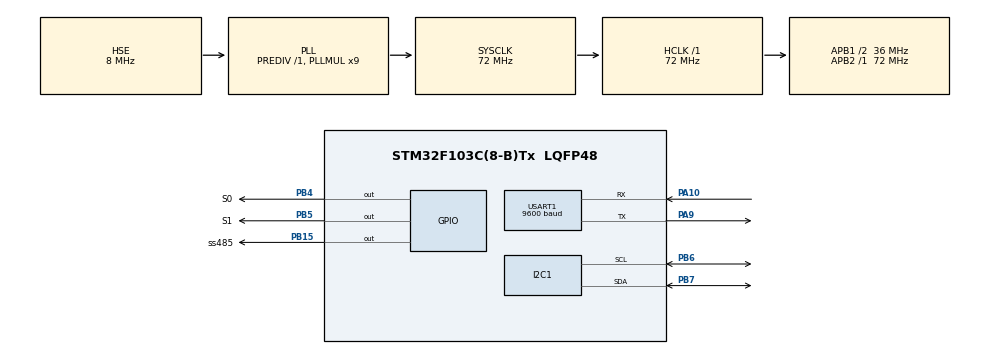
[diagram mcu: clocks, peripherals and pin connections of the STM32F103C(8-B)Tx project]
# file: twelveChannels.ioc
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Dma.I2C1_RX.0.Direction=DMA_PERIPH_TO_MEMORY
Dma.I2C1_RX.0.Instance=DMA1_Channel7
Dma.I2C1_RX.0.MemDataAlignment=DMA_MDATAALIGN_BYTE
Dma.I2C1_RX.0.MemInc=DMA_MINC_ENABLE
Dma.I2C1_RX.0.Mode=DMA_NORMAL
Dma.I2C1_RX.0.PeriphDataAlignment=DMA_PDATAALIGN_BYTE
Dma.I2C1_RX.0.PeriphInc=DMA_PINC_DISABLE
Dma.I2C1_RX.0.Priority=DMA_PRIORITY_LOW
Dma.I2C1_TX.1.Direction=DMA_MEMORY_TO_PERIPH
Dma.I2C1_TX.1.Instance=DMA1_Channel6
Dma.I2C1_TX.1.MemDataAlignment=DMA_MDATAALIGN_BYTE
Dma.I2C1_TX.1.MemInc=DMA_MINC_ENABLE
Dma.I2C1_TX.1.Mode=DMA_NORMAL
Dma.I2C1_TX.1.PeriphDataAlignment=DMA_PDATAALIGN_BYTE
Dma.I2C1_TX.1.PeriphInc=DMA_PINC_DISABLE
Dma.I2C1_TX.1.Priority=DMA_PRIORITY_LOW
Dma.Request0=I2C1_RX
Dma.Request1=I2C1_TX
Dma.Request2=USART1_RX
Dma.Request3=USART1_TX
Dma.USART1_RX.2.Direction=DMA_PERIPH_TO_MEMORY
Dma.USART1_RX.2.Instance=DMA1_Channel5
Dma.USART1_RX.2.MemDataAlignment=DMA_MDATAALIGN_BYTE
Dma.USART1_RX.2.MemInc=DMA_MINC_ENABLE
Dma.USART1_RX.2.Mode=DMA_NORMAL
Dma.USART1_RX.2.PeriphDataAlignment=DMA_PDATAALIGN_BYTE
Dma.USART1_RX.2.PeriphInc=DMA_PINC_DISABLE
Dma.USART1_RX.2.Priority=DMA_PRIORITY_LOW
Dma.USART1_TX.3.Direction=DMA_MEMORY_TO_PERIPH
Dma.USART1_TX.3.Instance=DMA1_Channel4
Dma.USART1_TX.3.MemDataAlignment=DMA_MDATAALIGN_BYTE
Dma.USART1_TX.3.MemInc=DMA_MINC_ENABLE
Dma.USART1_TX.3.Mode=DMA_NORMAL
Dma.USART1_TX.3.PeriphDataAlignment=DMA_PDATAALIGN_BYTE
Dma.USART1_TX.3.PeriphInc=DMA_PINC_DISABLE
Dma.USART1_TX.3.Priority=DMA_PRIORITY_LOW
Mcu.Family=STM32F1
Mcu.Name=STM32F103C(8-B)Tx
Mcu.Package=LQFP48
NVIC.DMA1_Channel4_IRQn=true\:0\:0\:false\:false\:true\:false\:true\:true
NVIC.DMA1_Channel5_IRQn=true\:0\:0\:false\:false\:true\:false\:true\:true
NVIC.DMA1_Channel6_IRQn=true\:0\:0\:false\:false\:true\:false\:true\:true
NVIC.DMA1_Channel7_IRQn=true\:0\:0\:false\:false\:true\:false\:true\:true
NVIC.I2C1_ER_IRQn=true\:0\:0\:false\:false\:true\:true\:true\:true
NVIC.I2C1_EV_IRQn=true\:0\:0\:false\:false\:true\:true\:true\:true
NVIC.PriorityGroup=NVIC_PRIORITYGROUP_4
NVIC.USART1_IRQn=true\:0\:0\:false\:false\:true\:true\:true\:true
PA10.Mode=Asynchronous
PA10.Signal=USART1_RX
PA13.Mode=Serial_Wire
PA13.Signal=SYS_JTMS-SWDIO
PA14.Mode=Serial_Wire
PA14.Signal=SYS_JTCK-SWCLK
PA9.Mode=Asynchronous
PA9.Signal=USART1_TX
PB15.GPIO_Label=ss485
PB15.Signal=GPIO_Output
PB4.GPIO_Label=S0
PB4.Signal=GPIO_Output
PB5.GPIO_Label=S1
PB5.Signal=GPIO_Output
PB6.Mode=I2C
PB6.Signal=I2C1_SCL
PB7.Mode=I2C
PB7.Signal=I2C1_SDA
PC14-OSC32_IN.Mode=LSE-External-Oscillator
PC14-OSC32_IN.Signal=RCC_OSC32_IN
PC15-OSC32_OUT.Mode=LSE-External-Oscillator
PC15-OSC32_OUT.Signal=RCC_OSC32_OUT
PD0-OSC_IN.Mode=HSE-External-Oscillator
PD0-OSC_IN.Signal=RCC_OSC_IN
PD1-OSC_OUT.Mode=HSE-External-Oscillator
PD1-OSC_OUT.Signal=RCC_OSC_OUT
ProjectManager.HeapSize=0x200
ProjectManager.StackSize=0x400
ProjectManager.TargetToolchain=STM32CubeIDE
RCC.AHBFreq_Value=72000000
RCC.APB1CLKDivider=RCC_HCLK_DIV2
RCC.APB1Freq_Value=36000000
RCC.APB1TimFreq_Value=72000000
RCC.APB2Freq_Value=72000000
RCC.APB2TimFreq_Value=72000000
RCC.HCLKFreq_Value=72000000
RCC.PLLMUL=RCC_PLL_MUL9
RCC.PLLSourceVirtual=RCC_PLLSOURCE_HSE
RCC.SYSCLKFreq_VALUE=72000000
RCC.SYSCLKSource=RCC_SYSCLKSOURCE_PLLCLK
RCC.USBFreq_Value=72000000
USART1.BaudRate=9600
USART1.VirtualMode=VM_ASYNC
board=custom

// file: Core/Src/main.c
/* USER CODE BEGIN Header */
/**
  ******************************************************************************
  * @file           : main.c
  * @brief          : Main program body
  ******************************************************************************
  * @attention
  *
  * Copyright (c) 2024 STMicroelectronics.
  * All rights reserved.
  *
  * This software is licensed under terms that can be found in the LICENSE file
  * in the root directory of this software component.
  * If no LICENSE file comes with this software, it is provided AS-IS.
  *
  ******************************************************************************
  */
/* USER CODE END Header */
#include "main.h"
#include "dma.h"
#include "i2c.h"
#include "usart.h"
#include "gpio.h"

/* USER CODE BEGIN Includes */
#include "modbus.h"
#include "userLib.h"
#include "readAdcChannels.h"
/* USER CODE END Includes */

/* USER CODE BEGIN PM */
#define I2C_Size 2
#define S0_L HAL_GPIO_WritePin(GPIOB,S0_Pin,RESET)
#define S0_H HAL_GPIO_WritePin(GPIOB,S0_Pin,SET)
#define S1_L HAL_GPIO_WritePin(GPIOB,S1_Pin,RESET)
#define S1_H HAL_GPIO_WritePin(GPIOB,S1_Pin,SET)
static void readAnalogChannel(uint16_t Len,uint8_t* _readI2cBuffer );
static void calFloat(uint8_t * _icBuff,uint16_t _Len,float * _rate,float *_floatData);
/* USER CODE END PM */

/* USER CODE BEGIN PV */
/**
 *  00  128sps  9.62ms
 *  01  32sps	38.46ms
 *  10	16sps   76.92ms
 *  11  8sps   153.85ms
 *  adc采样的平均间隔ms
 */
uint8_t adcConfig=0b00000000;  // 配置为持续采样 并且调整采样率

uint8_t receive485Data[8]; // modbus协议接收到的字节的长度

uint8_t readI2cBuffer[24]; //读取数据
float rate[12]={
	1000.0f,1000.0f,1000.0f,1000.0f,
	1000.0f,1000.0f,1000.0f,1000.0f,
	1000.0f,1000.0f,1000.0f,1000.0f
};  // 每个通道的比例
float floatData[12]; // 12个浮点数 1浮点数=4字节
uint32_t swapFinshBuffer[12]; // 48个字节
uint8_t localAddr=1; //  modbus协议的地址

/* USER CODE END PV */

void SystemClock_Config(void);

/* USER CODE BEGIN 0 */
void HAL_UARTEx_RxEventCallback(UART_HandleTypeDef *huart, uint16_t Size){
	if(huart==&huart1){
		 MODS_AnalyzeApp(receive485Data, Size);
	}else{
		// 对没用的干扰 启用接收就行
		HAL_GPIO_WritePin(ss485_GPIO_Port,ss485_Pin, RESET);
//		HAL_UARTEx_ReceiveToIdle_DMA(&huart1,receive485Data,sizeof(receive485Data));
	}

}

void HAL_UART_TxCpltCallback(UART_HandleTypeDef *huart){
	if(huart==&huart1){
	HAL_GPIO_WritePin(ss485_GPIO_Port,ss485_Pin, RESET);
	}
}
/***
 * Len  读取的数据的长度
 * _readI2cBuffer 保存数据的数组
 *
 */
static void readAnalogChannel(uint16_t Len,uint8_t* _readI2cBuffer ){
	for(uint16_t i=0;i<Len;i++){
	//	读取IIC芯片数据
	if(0<=i && i<4 ){
		//		HAL_OK
		if(i%4==0){	S0_L; S1_L;} // 0
		if(i%4==1){	S0_H; S1_L;} // 1
		if(i%4==2){	S0_L; S1_H; } // 2
		if(i%4==3){	S0_H; S1_H; } // 3
//		uint8_t readI2cBuffer[24]; 定义在头文件中
		HAL_I2C_Master_Receive(&hi2c1,A0_Addr+(2*0),(_readI2cBuffer+2*i), I2C_Size,100);
		HAL_Delay(9);
		continue;
	}
	if(4<=i && i<8){
		if(i%4==0){	S0_L; S1_L; } // 4
		if(i%4==1){	S0_H; S1_L; } // 5
		if(i%4==2){	S0_L; S1_H; } // 6
		if(i%4==3){	S0_H; S1_H; } // 7
		HAL_I2C_Master_Receive(&hi2c1,A0_Addr+(2*1),(_readI2cBuffer+2*i), I2C_Size,100);
		HAL_Delay(9);
		continue;
	}
	if(8<=i && i<12){
		if(i%4==0){	S0_L; S1_L; } // 8
		if(i%4==1){	S0_H; S1_L; } // 9
		if(i%4==2){	S0_L; S1_H; } // 10
		if(i%4==3){	S0_H; S1_H; } // 11
		HAL_I2C_Master_Receive(&hi2c1,A0_Addr+(2*2),(_readI2cBuffer+2*i), I2C_Size,100);
		HAL_Delay(9);
		continue;
	}
 }
}

/**
 *   icBuff  24
 *
 *
 */
static void calFloat(uint8_t * _icBuff,uint16_t i2c_Len,float * _rate,float * _floatBuffer){
	uint16_t j;
	uint16_t  t_Len= i2c_Len>>1;
	for(j=0;j<t_Len;j++){
	 _floatBuffer[j]=BEBufToInt16(_icBuff+2*j)/_rate[j];
	}
}

/**
 * 将float数组进行char类型数组转换  并且4字节交换
 */
static void swapByte(float * _floatByteBuff,uint16_t _numFloats,uint32_t *_swapBuffer){
	uint16_t i;
	uint8_t *p=(uint8_t *)_floatByteBuff;
	for(i=0;i<_numFloats;i++){
		_swapBuffer[i]=BEBufToUint32(p+(4*i));
	}
}

/* USER CODE END 0 */

int main(void)
{

  /* MCU Configuration--------------------------------------------------------*/

  /* Reset of all peripherals, Initializes the Flash interface and the Systick. */
  HAL_Init();

  /* Configure the system clock */
  SystemClock_Config();

  /* Initialize all configured peripherals */
  MX_GPIO_Init();
  MX_DMA_Init();
  MX_I2C1_Init();
  MX_USART1_UART_Init();
  /* USER CODE BEGIN 2 */

  HAL_I2C_Master_Transmit(&hi2c1,  A0_Addr,&adcConfig,1,100); // 初始化芯片
//  HAL_UARTEx_ReceiveToIdle_DMA(&huart1,receive485Data,sizeof(receive485Data));

  /*
   * 修改芯片为单采集模式

    HAL_GPIO_WritePin(GPIOB, ss485_Pin, SET);
    HAL_I2C_Master_Receive(&hi2c1,0xD0,i2cReceiveData, 3,100);
    HAL_UART_Transmit(&huart1,i2cReceiveData,3,100);
    HAL_Delay(1000);
   */

  /*
  i2cSendData[0]=0x08;
  HAL_I2C_Master_Transmit(&hi2c1,0xD0,i2cSendData, 3,100);

  	    HAL_GPIO_WritePin(GPIOB, ss485_Pin, SET);
  	    HAL_I2C_Master_Receive(&hi2c1,0xD0,i2cReceiveData, 3,100);
  	    HAL_Delay(1000);
  	    HAL_UART_Transmit(&huart1,i2cReceiveData,3,100);
   */

  /**
   *  readAnalogChannel(12);
	  HAL_UARTEx_ReceiveToIdle_DMA(&huart1,receive485Data,sizeof(receive485Data));
   *
   *
   */
  /* USER CODE END 2 */

  /* Infinite loop */
  while (1)
  {
		readAnalogChannel(12,readI2cBuffer);
	//	i2cLen=sizeof(readI2cBuffer)/sizeof(readI2cBuffer[0])/2;
		calFloat(readI2cBuffer,24,rate,floatData);

		swapByte(floatData,12,swapFinshBuffer);

		HAL_UARTEx_ReceiveToIdle_DMA(&huart1,receive485Data,sizeof(receive485Data));
  }
}

void SystemClock_Config(void)
{
  RCC_OscInitTypeDef RCC_OscInitStruct = {0};
  RCC_ClkInitTypeDef RCC_ClkInitStruct = {0};

  /** Initializes the RCC Oscillators according to the specified parameters
  * in the RCC_OscInitTypeDef structure.
  */
  RCC_OscInitStruct.OscillatorType = RCC_OSCILLATORTYPE_HSE;
  RCC_OscInitStruct.HSEState = RCC_HSE_ON;
  RCC_OscInitStruct.HSEPredivValue = RCC_HSE_PREDIV_DIV1;
  RCC_OscInitStruct.HSIState = RCC_HSI_ON;
  RCC_OscInitStruct.PLL.PLLState = RCC_PLL_ON;
  RCC_OscInitStruct.PLL.PLLSource = RCC_PLLSOURCE_HSE;
  RCC_OscInitStruct.PLL.PLLMUL = RCC_PLL_MUL9;
  if (HAL_RCC_OscConfig(&RCC_OscInitStruct) != HAL_OK)
  {
    Error_Handler();
  }

  /** Initializes the CPU, AHB and APB buses clocks
  */
  RCC_ClkInitStruct.ClockType = RCC_CLOCKTYPE_HCLK|RCC_CLOCKTYPE_SYSCLK
                              |RCC_CLOCKTYPE_PCLK1|RCC_CLOCKTYPE_PCLK2;
  RCC_ClkInitStruct.SYSCLKSource = RCC_SYSCLKSOURCE_PLLCLK;
  RCC_ClkInitStruct.AHBCLKDivider = RCC_SYSCLK_DIV1;
  RCC_ClkInitStruct.APB1CLKDivider = RCC_HCLK_DIV2;
  RCC_ClkInitStruct.APB2CLKDivider = RCC_HCLK_DIV1;

  if (HAL_RCC_ClockConfig(&RCC_ClkInitStruct, FLASH_LATENCY_2) != HAL_OK)
  {
    Error_Handler();
  }
}

void Error_Handler(void)
{
  __disable_irq();
  while (1)
  {
  }
}
